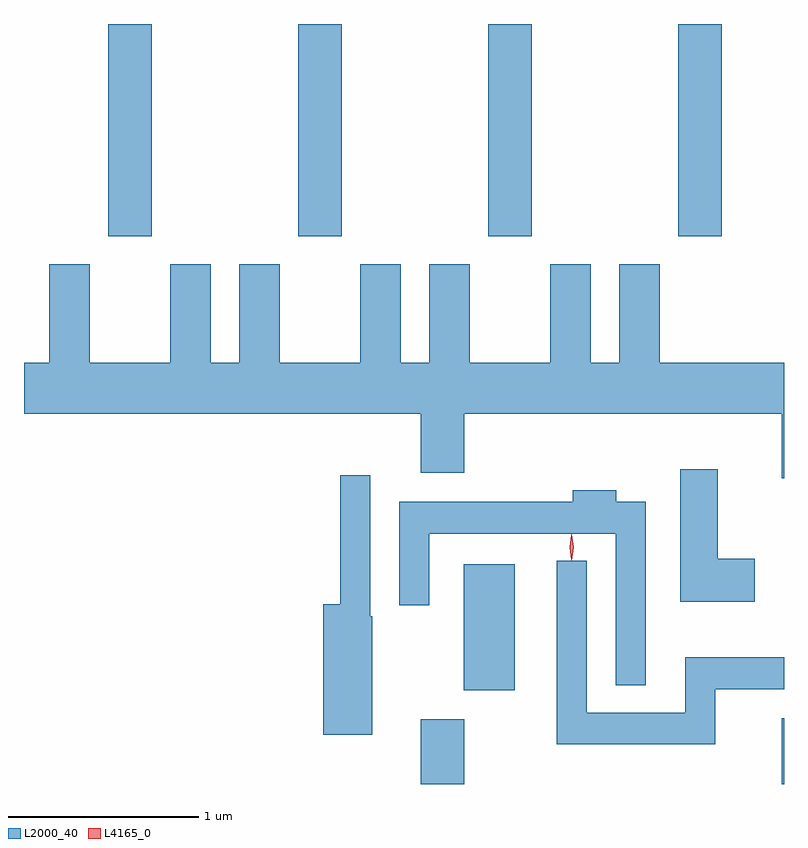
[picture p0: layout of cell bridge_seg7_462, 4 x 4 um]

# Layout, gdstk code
import gdstk
lib = gdstk.Library(unit=1e-6, precision=1e-09)
def R(c, l, rs):  # rectangles x0, y0, x1, y1
    for r in rs: c.add(gdstk.rectangle(r[:2], r[2:], *l))
def A(c, l, x, y, w, h, nx, ny, dx, dy):  # array of equal rectangles
    R(c, l, [(x+i*dx, y+j*dy, x+i*dx+w, y+j*dy+h) for i in range(nx) for j in range(ny)])
def P(c, l, *ps):  # polygons
    for p in ps: c.add(gdstk.Polygon(p, *l))
L2000_40 = (2000, 40)
L4165_0 = (4165, 0)

bridge_seg7_462 = lib.new_cell('bridge_seg7_462')
A(bridge_seg7_462, L2000_40, 1128.776, 1673.071, 0.228, 1.117, 4, 1, 1, 0)
R(bridge_seg7_462, L2000_40, [(1130.421,1670.188,1130.649,1670.529), (1132.321,1670.188,1132.332,1670.534), (1130.646,1670.681,1130.914,1671.344)])
P(bridge_seg7_462, L2000_40, [(1132.332,1672.404),(1131.679,1672.404),(1131.679,1672.924),(1131.466,1672.924),(1131.466,1672.404),(1131.314,1672.404),(1131.314,1672.924),(1131.101,1672.924),(1131.101,1672.404),(1130.679,1672.404),(1130.679,1672.924),(1130.466,1672.924),(1130.466,1672.404),(1130.314,1672.404),(1130.314,1672.924),(1130.101,1672.924),(1130.101,1672.404),(1129.679,1672.404),(1129.679,1672.924),(1129.466,1672.924),(1129.466,1672.404),(1129.314,1672.404),(1129.314,1672.924),(1129.101,1672.924),(1129.101,1672.404),(1128.679,1672.404),(1128.679,1672.924),(1128.466,1672.924),(1128.466,1672.404),(1128.332,1672.404),(1128.332,1672.136),(1130.421,1672.136),(1130.421,1671.826),(1130.649,1671.826),(1130.649,1672.136),(1132.321,1672.136),(1132.321,1671.796),(1132.332,1671.796)],
  [(1132.179,1671.374),(1131.984,1671.374),(1131.984,1671.844),(1131.786,1671.844),(1131.786,1671.146),(1132.179,1671.146)],
  [(1130.164,1671.07),(1130.154,1671.07),(1130.154,1671.813),(1129.996,1671.813),(1129.996,1671.134),(1129.906,1671.134),(1129.906,1670.446),(1130.164,1670.446)],
  [(1131.604,1671.674),(1131.449,1671.674),(1131.449,1671.734),(1131.221,1671.734),(1131.221,1671.674),(1130.306,1671.674),(1130.306,1671.128),(1130.464,1671.128),(1130.464,1671.506),(1131.446,1671.506),(1131.446,1670.708),(1131.604,1670.708)],
  [(1131.969,1670.686),(1132.332,1670.686),(1132.332,1670.854),(1131.811,1670.854),(1131.811,1670.564),(1131.294,1670.564),(1131.294,1671.363),(1131.136,1671.363),(1131.136,1670.396),(1131.969,1670.396)])
P(bridge_seg7_462, L4165_0, [(1131.213,1671.367),(1131.204,1671.434),(1131.213,1671.5),(1131.214,1671.5),(1131.214,1671.5),(1131.224,1671.434),(1131.214,1671.367),(1131.214,1671.367)],
  [(1131.214,1671.364),(1131.205,1671.434),(1131.214,1671.502),(1131.215,1671.503),(1131.216,1671.502),(1131.225,1671.434),(1131.216,1671.364),(1131.215,1671.364)])

lib.write_gds('bridge_seg7_462.gds')
